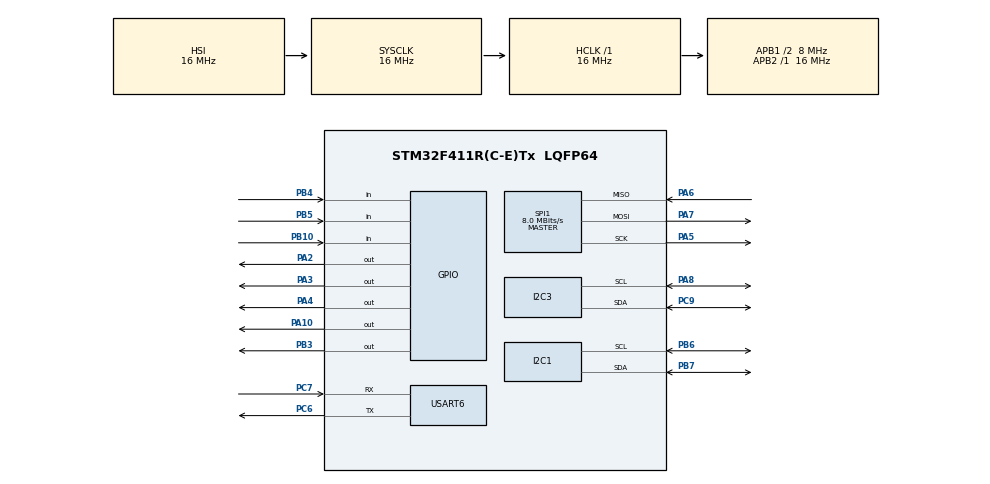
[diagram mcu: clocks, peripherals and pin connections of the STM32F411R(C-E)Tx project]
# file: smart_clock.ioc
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Mcu.Family=STM32F4
Mcu.Name=STM32F411R(C-E)Tx
Mcu.Package=LQFP64
NVIC.PriorityGroup=NVIC_PRIORITYGROUP_4
NVIC.TIM3_IRQn=true\:0\:0\:false\:false\:true\:true\:true\:true
NVIC.USART6_IRQn=true\:0\:0\:false\:false\:true\:true\:true\:true
PA10.Signal=GPIO_Output
PA13.Mode=Serial_Wire
PA13.Signal=SYS_JTMS-SWDIO
PA14.Mode=Serial_Wire
PA14.Signal=SYS_JTCK-SWCLK
PA2.Signal=GPIO_Output
PA3.Signal=GPIO_Output
PA4.Signal=GPIO_Output
PA5.Mode=Full_Duplex_Master
PA5.Signal=SPI1_SCK
PA6.Mode=Full_Duplex_Master
PA6.Signal=SPI1_MISO
PA7.Mode=Full_Duplex_Master
PA7.Signal=SPI1_MOSI
PA8.Mode=I2C
PA8.Signal=I2C3_SCL
PB10.GPIO_PuPd=GPIO_PULLUP
PB10.Signal=GPIO_Input
PB3.Signal=GPIO_Output
PB4.GPIO_PuPd=GPIO_PULLUP
PB4.Signal=GPIO_Input
PB5.GPIO_PuPd=GPIO_PULLUP
PB5.Signal=GPIO_Input
PB6.Mode=I2C
PB6.Signal=I2C1_SCL
PB7.Mode=I2C
PB7.Signal=I2C1_SDA
PC6.Mode=Asynchronous
PC6.Signal=USART6_TX
PC7.Mode=Asynchronous
PC7.Signal=USART6_RX
PC9.Mode=I2C
PC9.Signal=I2C3_SDA
PH0\ -\ OSC_IN.Mode=HSE-External-Oscillator
PH0\ -\ OSC_IN.Signal=RCC_OSC_IN
PH1\ -\ OSC_OUT.Mode=HSE-External-Oscillator
PH1\ -\ OSC_OUT.Signal=RCC_OSC_OUT
ProjectManager.HeapSize=0x200
ProjectManager.StackSize=0x400
ProjectManager.TargetToolchain=STM32CubeIDE
RCC.48MHZClocksFreq_Value=100000000
RCC.AHBFreq_Value=16000000
RCC.APB1CLKDivider=RCC_HCLK_DIV2
RCC.APB1Freq_Value=8000000
RCC.APB1TimFreq_Value=16000000
RCC.APB2Freq_Value=16000000
RCC.APB2TimFreq_Value=16000000
RCC.CortexFreq_Value=16000000
RCC.HCLKFreq_Value=16000000
RCC.HSE_VALUE=8000000
RCC.HSI_VALUE=16000000
RCC.LSE_VALUE=32768
RCC.PLLM=4
RCC.PLLN=100
RCC.SYSCLKFreq_VALUE=16000000
RCC.VCOOutputFreq_Value=400000000
SPI1.BaudRatePrescaler=SPI_BAUDRATEPRESCALER_2
SPI1.CalculateBaudRate=8.0 MBits/s
SPI1.Direction=SPI_DIRECTION_2LINES
SPI1.Mode=SPI_MODE_MASTER
SPI1.VirtualType=VM_MASTER
TIM3.Period=49999
TIM3.Prescaler=1999
USART6.VirtualMode=VM_ASYNC
VP_TIM3_VS_ClockSourceINT.Mode=Internal
board=custom

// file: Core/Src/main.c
/* USER CODE BEGIN Header */
/**
 ******************************************************************************
 * @file           : main.c
 * @brief          : Main program body
 ******************************************************************************
 * @attention
 *
 * Copyright (c) 2023 STMicroelectronics.
 * All rights reserved.
 *
 * This software is licensed under terms that can be found in the LICENSE file
 * in the root directory of this software component.
 * If no LICENSE file comes with this software, it is provided AS-IS.
 *
 ******************************************************************************
 */
/* USER CODE END Header */
#include "main.h"

/* USER CODE BEGIN Includes */
#include "api_handle_display.h"
#include "api_keypad.h"
#include "api_rc522.h"
#include "api_flash.h"
#include <stdio.h>
#include <stdbool.h>
#include "bsp_spi.h"
#include "driver_rc522.h"
#include "driver_flash.h"
#include "driver_uart.h"

/* USER CODE END Includes */

I2C_HandleTypeDef hi2c1;
I2C_HandleTypeDef hi2c3;

SPI_HandleTypeDef hspi1;

TIM_HandleTypeDef htim3;

UART_HandleTypeDef huart6;

/* USER CODE BEGIN PV */
volatile bool state = false;
volatile bool flag = true;
volatile uint8_t wrong = 0;
uint8_t uart[1];
uint8_t password[4] = {0};

// Declare the states
typedef enum
{
	IDLE_STATE,
	CHECK_CARD_STATE,
	ENTER_PASSWORD_STATE,
	CHECK_PASSWORD_TIMEOUT_STATE,
	CHANGE_PASS_ADD_CARD_STATE,
	ADD_CARD_STATE,
	TAP_NEW_CARD_STATE,
	CHANGE_PASS_STATE,
	ENTER_NEW_PASSWORD_STATE,
	BLOCK_STATE
} State;

// Declare current state
State current_state = IDLE_STATE;

keypad_name keypad;
/* USER CODE END PV */

void SystemClock_Config(void);
static void MX_GPIO_Init(void);
static void MX_TIM3_Init(void);
static void MX_I2C1_Init(void);
static void MX_I2C3_Init(void);
static void MX_SPI1_Init(void);
static void MX_USART6_UART_Init(void);

int main(void)
{
	/* USER CODE BEGIN 1 */
	//
	/* USER CODE END 1 */

	/* MCU Configuration--------------------------------------------------------*/

	/* Reset of all peripherals, Initializes the Flash interface and the Systick. */
	HAL_Init();

	/* USER CODE BEGIN Init */
	//
	/* USER CODE END Init */

	/* Configure the system clock */
	SystemClock_Config();

	/* USER CODE BEGIN SysInit */
	//
	/* USER CODE END SysInit */

	/* Initialize all configured peripherals */
	MX_GPIO_Init();
	MX_TIM3_Init();
	MX_I2C1_Init();
	MX_I2C3_Init();
	MX_SPI1_Init();
	MX_USART6_UART_Init();
	/* USER CODE BEGIN 2 */

	flash_load();
	flash_load_password();
	bspGetSPI(&hspi1);
	mfrc522_init();
	lcd_init(&hi2c3);
	ds1307_init(&hi2c1);
	//ds1307_set_date_time (3, 27, 14, 6, 8, 9, 2023);
	HAL_TIM_Base_Start_IT(&htim3);
	uart_init(&huart6);
	uart_receive_it(uart, 1);

	//keypad_name keypad;
	api_keypad_init(&keypad, GPIOB, GPIO_PIN_10, GPIOB, GPIO_PIN_4,
			GPIOB,	GPIO_PIN_5, GPIOB, GPIO_PIN_3,
			GPIOA, GPIO_PIN_10, GPIOA, GPIO_PIN_2,
			GPIOA, GPIO_PIN_3);

	handle_state_master_card();
	time_delay(1000);

	flash_read_existing_card();

	/* USER CODE END 2 */

	/* Infinite loop */
	while (1)
	{

		/* USER CODE BEGIN 3 */

		switch (current_state)
		{
		case IDLE_STATE:
			// Check condition to display time on LCD
			if (flag)
			{
				h_display_time();
				flag = false;
			}

			// Check for the presence of a card
			if (check_have_card())
			{
				current_state = CHECK_CARD_STATE;
			}

			// Check the keypad button
			if (api_check_have_button(&keypad))
			{
				// If the '*' button is pressed, switch to enter password state
				if (api_check_button(&keypad, '*'))
				{
					current_state = ENTER_PASSWORD_STATE;
				}
				// If the '#' button is pressed, switch to the state to change password or add a card
				else if (api_check_button(&keypad, '#'))
				{
					current_state = CHANGE_PASS_ADD_CARD_STATE;
				}
			}
			break;

		case CHECK_CARD_STATE:
			// Check if the card is valid
			if (check_card_to_access())
			{
				open_door();
				time_delay(1000);
			}
			else
			{
				h_wrong_card();
			}

			current_state = IDLE_STATE;
			break;

		case ENTER_PASSWORD_STATE:
			// Call the function to enter the password
			if (api_enter_pass(&keypad, password))
			{
				current_state = CHECK_PASSWORD_TIMEOUT_STATE;
				state = false;
			}
			else
			{
				h_timeout();
				current_state = IDLE_STATE;
			}
			break;

		case CHECK_PASSWORD_TIMEOUT_STATE:
			// Check button and timeout
			if (api_check_button_timeout(&keypad, '#', 10000))
			{
				// Check if the password is correct
				if (!check_password(password))
				{
					wrong++;
					if (wrong > 3)
					{
						wrong = 0;
						current_state = BLOCK_STATE;
					}
					else
					{
						h_wrong_pass();
						current_state = ENTER_PASSWORD_STATE;
					}
				}
				else
				{
					if (state)
					{
						current_state = ENTER_NEW_PASSWORD_STATE;
					}
					else
					{
						open_door();
						wrong = 0;
						current_state = IDLE_STATE;
					}
				}
			}
			else
			{
				h_timeout();
				wrong = 0;
				current_state = IDLE_STATE;
			}
			break;

		case CHANGE_PASS_ADD_CARD_STATE:
			// Display the mode selection options
			h_display_choose_mode();

			// Check button and timeout
			if (api_check_have_button_timeout(&keypad, 10000))
			{
				// If button '7' is pressed, switch to the state to add a card
				if (api_check_button(&keypad, '7'))
				{
					current_state = ADD_CARD_STATE;
				}
				// If button '8' is pressed, switch to the state to enter the current password
				else if (api_check_button(&keypad, '8'))
				{
					current_state = CHANGE_PASS_STATE;
				}
			}
			else
			{
				h_timeout();
				current_state = IDLE_STATE;
			}
			break;

		case ADD_CARD_STATE:
			h_display_tap_master_card();

			// Check for the presence of a card and timeout
			if (check_have_card_with_timeout())
			{
				// Check if the card is a Master card
				if (check_master_card())
				{
					current_state = TAP_NEW_CARD_STATE;
					time_delay(1000);
				}
				else
				{
					h_wrong_card();
					current_state = IDLE_STATE;
				}
			}
			else
			{
				h_timeout();
				current_state = IDLE_STATE;
			}
			break;

		case TAP_NEW_CARD_STATE:
			h_display_tap_new_card();

			// Check for the presence of a card and timeout
			if (check_have_card_with_timeout())
			{
				// Check if the card has been registered or not
				if (!check_card_to_access())
				{
					flash_read_existing_card();
					add_new_sub_card();
					time_delay(1000);
				}
			}
			else
			{
				h_timeout();
			}

			current_state = IDLE_STATE;
			break;

		case CHANGE_PASS_STATE:
			h_display_enter_current_pass();

			// Enter the current password
			if (api_enter_pass(&keypad, password))
			{
				current_state = CHECK_PASSWORD_TIMEOUT_STATE;
				state = true;
			}
			else
			{
				h_timeout();
				current_state = IDLE_STATE;
			}
			break;

		case ENTER_NEW_PASSWORD_STATE:
			h_display_enter_new_pass();
			time_delay(1000);

			// Check button and timeout
			if (api_enter_pass(&keypad, password))
			{
				if (api_check_button_timeout(&keypad,'#',10000))
				{
					save_password_to_flash(password);
				}
				else
				{
					h_timeout();
				}
			}
			else
			{
				h_timeout();
			}
			current_state = IDLE_STATE;
			break;

		case BLOCK_STATE:
			// Display the system blocked message
			h_block();
			current_state = IDLE_STATE;
			break;
		}
	}
	/* USER CODE END 3 */
}

void SystemClock_Config(void)
{
	RCC_OscInitTypeDef RCC_OscInitStruct = {0};
	RCC_ClkInitTypeDef RCC_ClkInitStruct = {0};

	/** Configure the main internal regulator output voltage
	 */
	__HAL_RCC_PWR_CLK_ENABLE();
	__HAL_PWR_VOLTAGESCALING_CONFIG(PWR_REGULATOR_VOLTAGE_SCALE1);

	/** Initializes the RCC Oscillators according to the specified parameters
	 * in the RCC_OscInitTypeDef structure.
	 */
	RCC_OscInitStruct.OscillatorType = RCC_OSCILLATORTYPE_HSI;
	RCC_OscInitStruct.HSIState = RCC_HSI_ON;
	RCC_OscInitStruct.HSICalibrationValue = RCC_HSICALIBRATION_DEFAULT;
	RCC_OscInitStruct.PLL.PLLState = RCC_PLL_NONE;
	if (HAL_RCC_OscConfig(&RCC_OscInitStruct) != HAL_OK)
	{
		Error_Handler();
	}

	/** Initializes the CPU, AHB and APB buses clocks
	 */
	RCC_ClkInitStruct.ClockType = RCC_CLOCKTYPE_HCLK|RCC_CLOCKTYPE_SYSCLK
			|RCC_CLOCKTYPE_PCLK1|RCC_CLOCKTYPE_PCLK2;
	RCC_ClkInitStruct.SYSCLKSource = RCC_SYSCLKSOURCE_HSI;
	RCC_ClkInitStruct.AHBCLKDivider = RCC_SYSCLK_DIV1;
	RCC_ClkInitStruct.APB1CLKDivider = RCC_HCLK_DIV2;
	RCC_ClkInitStruct.APB2CLKDivider = RCC_HCLK_DIV1;

	if (HAL_RCC_ClockConfig(&RCC_ClkInitStruct, FLASH_LATENCY_0) != HAL_OK)
	{
		Error_Handler();
	}
}

static void MX_I2C1_Init(void)
{

	hi2c1.Instance = I2C1;
	hi2c1.Init.ClockSpeed = 100000;
	hi2c1.Init.DutyCycle = I2C_DUTYCYCLE_2;
	hi2c1.Init.OwnAddress1 = 0;
	hi2c1.Init.AddressingMode = I2C_ADDRESSINGMODE_7BIT;
	hi2c1.Init.DualAddressMode = I2C_DUALADDRESS_DISABLE;
	hi2c1.Init.OwnAddress2 = 0;
	hi2c1.Init.GeneralCallMode = I2C_GENERALCALL_DISABLE;
	hi2c1.Init.NoStretchMode = I2C_NOSTRETCH_DISABLE;
	if (HAL_I2C_Init(&hi2c1) != HAL_OK)
	{
		Error_Handler();
	}

}

static void MX_I2C3_Init(void)
{

	hi2c3.Instance = I2C3;
	hi2c3.Init.ClockSpeed = 100000;
	hi2c3.Init.DutyCycle = I2C_DUTYCYCLE_2;
	hi2c3.Init.OwnAddress1 = 0;
	hi2c3.Init.AddressingMode = I2C_ADDRESSINGMODE_7BIT;
	hi2c3.Init.DualAddressMode = I2C_DUALADDRESS_DISABLE;
	hi2c3.Init.OwnAddress2 = 0;
	hi2c3.Init.GeneralCallMode = I2C_GENERALCALL_DISABLE;
	hi2c3.Init.NoStretchMode = I2C_NOSTRETCH_DISABLE;
	if (HAL_I2C_Init(&hi2c3) != HAL_OK)
	{
		Error_Handler();
	}

}

static void MX_SPI1_Init(void)
{

	/* USER CODE BEGIN SPI1_Init 0 */
	//
	/* USER CODE END SPI1_Init 0 */

	/* USER CODE BEGIN SPI1_Init 1 */
	//
	/* USER CODE END SPI1_Init 1 */
	/* SPI1 parameter configuration*/
	hspi1.Instance = SPI1;
	hspi1.Init.Mode = SPI_MODE_MASTER;
	hspi1.Init.Direction = SPI_DIRECTION_2LINES;
	hspi1.Init.DataSize = SPI_DATASIZE_8BIT;
	hspi1.Init.CLKPolarity = SPI_POLARITY_LOW;
	hspi1.Init.CLKPhase = SPI_PHASE_1EDGE;
	hspi1.Init.NSS = SPI_NSS_SOFT;
	hspi1.Init.BaudRatePrescaler = SPI_BAUDRATEPRESCALER_2;
	hspi1.Init.FirstBit = SPI_FIRSTBIT_MSB;
	hspi1.Init.TIMode = SPI_TIMODE_DISABLE;
	hspi1.Init.CRCCalculation = SPI_CRCCALCULATION_DISABLE;
	hspi1.Init.CRCPolynomial = 10;
	if (HAL_SPI_Init(&hspi1) != HAL_OK)
	{
		Error_Handler();
	}
	/* USER CODE BEGIN SPI1_Init 2 */
	//
	/* USER CODE END SPI1_Init 2 */

}

static void MX_TIM3_Init(void)
{

	TIM_ClockConfigTypeDef sClockSourceConfig = {0};
	TIM_MasterConfigTypeDef sMasterConfig = {0};

	htim3.Instance = TIM3;
	htim3.Init.Prescaler = 999;
	htim3.Init.CounterMode = TIM_COUNTERMODE_UP;
	htim3.Init.Period = 15999;
	htim3.Init.ClockDivision = TIM_CLOCKDIVISION_DIV1;
	htim3.Init.AutoReloadPreload = TIM_AUTORELOAD_PRELOAD_DISABLE;
	if (HAL_TIM_Base_Init(&htim3) != HAL_OK)
	{
		Error_Handler();
	}
	sClockSourceConfig.ClockSource = TIM_CLOCKSOURCE_INTERNAL;
	if (HAL_TIM_ConfigClockSource(&htim3, &sClockSourceConfig) != HAL_OK)
	{
		Error_Handler();
	}
	sMasterConfig.MasterOutputTrigger = TIM_TRGO_RESET;
	sMasterConfig.MasterSlaveMode = TIM_MASTERSLAVEMODE_DISABLE;
	if (HAL_TIMEx_MasterConfigSynchronization(&htim3, &sMasterConfig) != HAL_OK)
	{
		Error_Handler();
	}

}

static void MX_USART6_UART_Init(void)
{

	huart6.Instance = USART6;
	huart6.Init.BaudRate = 115200;
	huart6.Init.WordLength = UART_WORDLENGTH_8B;
	huart6.Init.StopBits = UART_STOPBITS_1;
	huart6.Init.Parity = UART_PARITY_NONE;
	huart6.Init.Mode = UART_MODE_TX_RX;
	huart6.Init.HwFlowCtl = UART_HWCONTROL_NONE;
	huart6.Init.OverSampling = UART_OVERSAMPLING_16;
	if (HAL_UART_Init(&huart6) != HAL_OK)
	{
		Error_Handler();
	}

}

static void MX_GPIO_Init(void)
{
	GPIO_InitTypeDef GPIO_InitStruct = {0};

	/* GPIO Ports Clock Enable */
	__HAL_RCC_GPIOH_CLK_ENABLE();
	__HAL_RCC_GPIOA_CLK_ENABLE();
	__HAL_RCC_GPIOB_CLK_ENABLE();
	__HAL_RCC_GPIOC_CLK_ENABLE();

	/*Configure GPIO pin Output Level */
	HAL_GPIO_WritePin(GPIOA, GPIO_PIN_2|GPIO_PIN_3|GPIO_PIN_4|GPIO_PIN_10, GPIO_PIN_RESET);

	/*Configure GPIO pin Output Level */
	HAL_GPIO_WritePin(GPIOB, GPIO_PIN_3, GPIO_PIN_RESET);

	/*Configure GPIO pins : PA2 PA3 PA4 PA10 */
	GPIO_InitStruct.Pin = GPIO_PIN_2|GPIO_PIN_3|GPIO_PIN_4|GPIO_PIN_10;
	GPIO_InitStruct.Mode = GPIO_MODE_OUTPUT_PP;
	GPIO_InitStruct.Pull = GPIO_NOPULL;
	GPIO_InitStruct.Speed = GPIO_SPEED_FREQ_LOW;
	HAL_GPIO_Init(GPIOA, &GPIO_InitStruct);

	/*Configure GPIO pins : PB10 PB4 PB5 */
	GPIO_InitStruct.Pin = GPIO_PIN_10|GPIO_PIN_4|GPIO_PIN_5;
	GPIO_InitStruct.Mode = GPIO_MODE_INPUT;
	GPIO_InitStruct.Pull = GPIO_PULLUP;
	HAL_GPIO_Init(GPIOB, &GPIO_InitStruct);

	/*Configure GPIO pin : PB3 */
	GPIO_InitStruct.Pin = GPIO_PIN_3;
	GPIO_InitStruct.Mode = GPIO_MODE_OUTPUT_PP;
	GPIO_InitStruct.Pull = GPIO_NOPULL;
	GPIO_InitStruct.Speed = GPIO_SPEED_FREQ_LOW;
	HAL_GPIO_Init(GPIOB, &GPIO_InitStruct);

}

/* USER CODE BEGIN 4 */
void HAL_TIM_PeriodElapsedCallback(TIM_HandleTypeDef *htim)
{
	if (htim->Instance == TIM3)
	{
		flag = true;
	}
}

void HAL_UART_RxCpltCallback(UART_HandleTypeDef *huart)
{
	if (uart[0] == 49)
	{
		flash_read_and_send_uart();
		uart[0] = 0;

	}
	uart_receive_it(uart, 1);
}
/* USER CODE END 4 */

void Error_Handler(void)
{
	__disable_irq();
	while (1)
	{
	}
}
